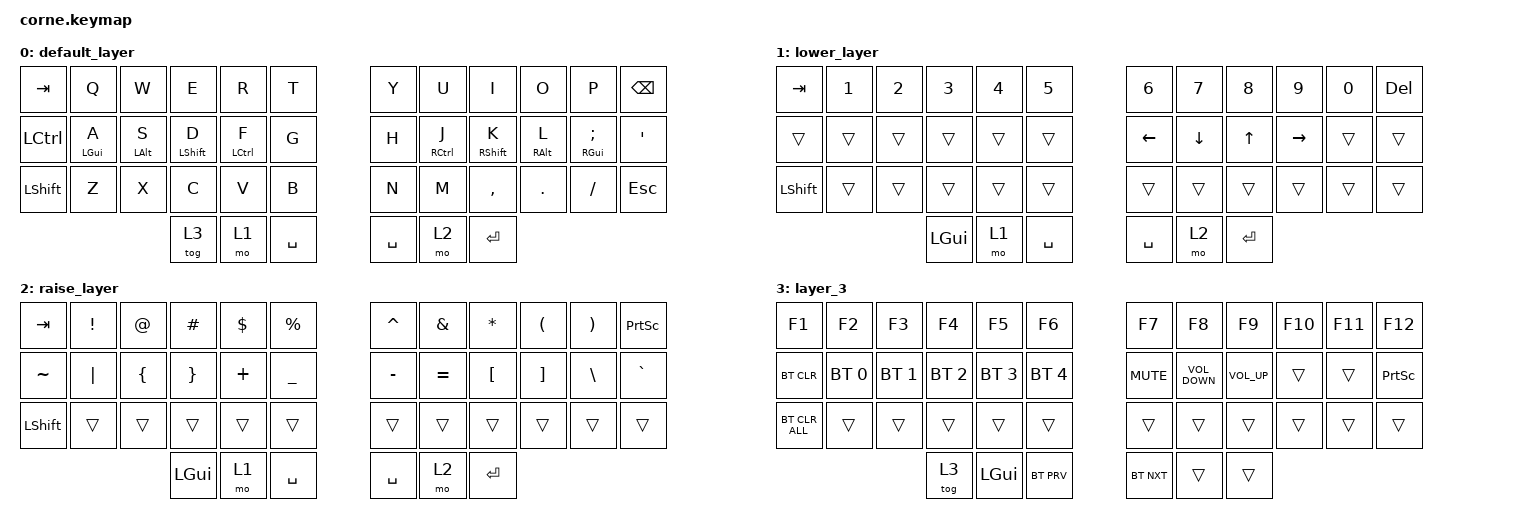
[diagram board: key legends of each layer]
/*
 * Copyright (c) 2020 The ZMK Contributors
 *
 * SPDX-License-Identifier: MIT
 */

#include <behaviors.dtsi>
#include <dt-bindings/zmk/bt.h>
#include <dt-bindings/zmk/keys.h>

/ {
    combos {
        compatible = "zmk,combos";

        combo_esc {
            timeout-ms = <50>;
            key-positions = <0 1>;
            bindings = <&kp ESC>;
        };
    };

    behaviors {
        ss_hs_modmorph: ss_hs_modmorph {
            compatible = "zmk,behavior-mod-morph";
            label = "SS_HS_MODMORPH";
            bindings = <&kp M>, <&kp RIGHT_BRACKET>;

            #binding-cells = <0>;
            mods = <(MOD_LSFT|MOD_RSFT)>;
        };

        kh_hs_tapdance: kh_hs_tapdance {
            compatible = "zmk,behavior-tap-dance";
            label = "KH_HS_TAPDANCE";
            #binding-cells = <0>;
            tapping-term-ms = <200>;
            bindings = <&kp LEFT_BRACKET>, <&kp RIGHT_BRACKET>;
        };

        hrm: hrm {
            compatible = "zmk,behavior-hold-tap";
            #binding-cells = <2>;
            flavor = "tap-preferred";
            tapping-term-ms = <200>;
            quick-tap-ms = <200>;
            require-prior-idle-ms = <125>;
            bindings = <&kp>, <&kp>;
        };
    };

    keymap {
        compatible = "zmk,keymap";

        default_layer {
            // -----------------------------------------------------------------------------------------
            // |  TAB |  Q  |  W  |  E  |  R  |  T  |   |  Y  |  U   |  I  |  O  |  P  | BKSP |
            // | CTRL |  A  |  S  |  D  |  F  |  G  |   |  H  |  J   |  K  |  L  |  ;  |  '   |
            // | SHFT |  Z  |  X  |  C  |  V  |  B  |   |  N  |  M   |  ,  |  .  |  /  | ESC  |
            //                    | GUI | LWR | SPC |   | ENT | RSE  | ALT |

            bindings = <
&kp TAB    &kp Q        &kp W            &kp E              &kp R         &kp T        &kp Y      &kp U         &kp I               &kp O        &kp P           &kp BSPC
&kp LCTRL  &hrm LGUI A  &hrm LEFT_ALT S  &hrm LEFT_SHIFT D  &hrm LCTRL F  &kp G        &kp H      &hrm RCTRL J  &hrm RIGHT_SHIFT K  &hrm RALT L  &hrm RGUI SEMI  &kp SQT
&kp LSHFT  &kp Z        &kp X            &kp C              &kp V         &kp B        &kp N      &kp M         &kp COMMA           &kp DOT      &kp FSLH        &kp ESC
                                         &tog 3             &mo 1         &kp SPACE    &kp SPACE  &mo 2         &kp RET
            >;
        };

        lower_layer {
            // -----------------------------------------------------------------------------------------
            // |  TAB |  1  |  2  |  3  |  4  |  5  |   |  6  |  7  |  8  |  9  |  0  | BKSP |
            // | BTCLR| BT1 | BT2 | BT3 | BT4 | BT5 |   | LFT | DWN |  UP | RGT |     |      |
            // | SHFT |     |     |     |     |     |   |     |     |     |     |     |      |
            //                    | GUI |     | SPC |   | ENT |     | ALT |

            bindings = <
&kp TAB    &kp N1  &kp N2  &kp N3    &kp N4  &kp N5       &kp N6     &kp N7    &kp N8   &kp N9     &kp N0  &kp DELETE
&trans     &trans  &trans  &trans    &trans  &trans       &kp LEFT   &kp DOWN  &kp UP   &kp RIGHT  &trans  &trans
&kp LSHFT  &trans  &trans  &trans    &trans  &trans       &trans     &trans    &trans   &trans     &trans  &trans
                           &kp LGUI  &mo 1   &kp SPACE    &kp SPACE  &mo 2     &kp RET
            >;
        };

        raise_layer {
            // -----------------------------------------------------------------------------------------
            // |  TAB |  !  |  @  |  #  |  $  |  %  |   |  ^  |  &  |  *  |  (  |  )  | BKSP |
            // | CTRL |     |     |     |     |     |   |  -  |  =  |  [  |  ]  |  \  |  `   |
            // | SHFT |     |     |     |     |     |   |  _  |  +  |  {  |  }  | "|" |  ~   |
            //                    | GUI |     | SPC |   | ENT |     | ALT |

            bindings = <
&kp TAB    &kp EXCL  &kp AT          &kp HASH         &kp DLLR  &kp PRCNT         &kp CARET  &kp AMPS   &kp ASTRK  &kp LPAR  &kp RPAR  &kp PRINTSCREEN
&kp TILDE  &kp PIPE  &kp LEFT_BRACE  &kp RIGHT_BRACE  &kp PLUS  &kp UNDERSCORE    &kp MINUS  &kp EQUAL  &kp LBKT   &kp RBKT  &kp BSLH  &kp GRAVE
&kp LSHFT  &trans    &trans          &trans           &trans    &trans            &trans     &trans     &trans     &trans    &trans    &trans
                                     &kp LGUI         &mo 1     &kp SPACE         &kp SPACE  &mo 2      &kp RET
            >;
        };

        layer_3 {
            bindings = <
&kp F1          &kp F2        &kp F3        &kp F4        &kp F5        &kp F6          &kp F7      &kp F8             &kp F9           &kp F10  &kp F11  &kp F12
&bt BT_CLR      &bt BT_SEL 0  &bt BT_SEL 1  &bt BT_SEL 2  &bt BT_SEL 3  &bt BT_SEL 4    &kp K_MUTE  &kp C_VOLUME_DOWN  &kp C_VOLUME_UP  &trans   &trans   &kp PRINTSCREEN
&bt BT_CLR_ALL  &trans        &trans        &trans        &trans        &trans          &trans      &trans             &trans           &trans   &trans   &trans
                                            &tog 3        &kp LEFT_GUI  &bt BT_PRV      &bt BT_NXT  &trans             &trans
            >;
        };
    };
};
